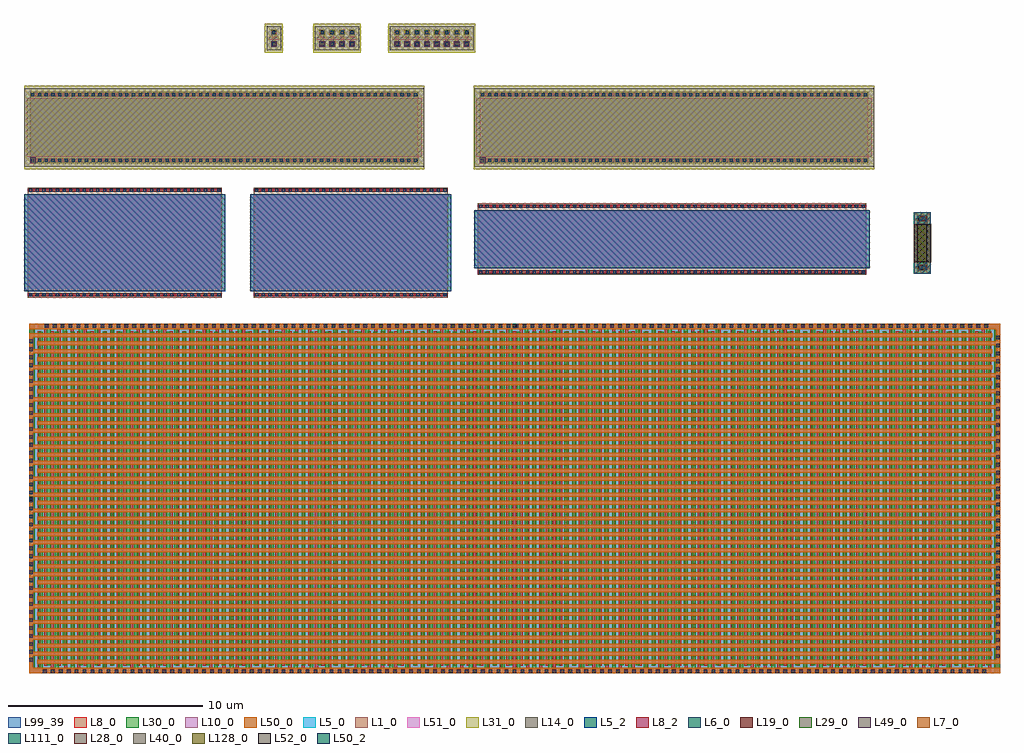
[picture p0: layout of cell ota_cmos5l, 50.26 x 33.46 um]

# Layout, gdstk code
from math import pi, radians
import gdstk
lib = gdstk.Library(unit=1e-6, precision=1e-09)
def R(c, l, rs):  # rectangles x0, y0, x1, y1
    for r in rs: c.add(gdstk.rectangle(r[:2], r[2:], *l))
def A(c, l, x, y, w, h, nx, ny, dx, dy):  # array of equal rectangles
    R(c, l, [(x+i*dx, y+j*dy, x+i*dx+w, y+j*dy+h) for i in range(nx) for j in range(ny)])
L1_0 = (1, 0)
L5_0 = (5, 0)
L5_2 = (5, 2)
L6_0 = (6, 0)
L7_0 = (7, 0)
L8_0 = (8, 0)
L8_2 = (8, 2)
L10_0 = (10, 0)
L14_0 = (14, 0)
L19_0 = (19, 0)
L28_0 = (28, 0)
L29_0 = (29, 0)
L30_0 = (30, 0)
L31_0 = (31, 0)
L40_0 = (40, 0)
L49_0 = (49, 0)
L50_0 = (50, 0)
L50_2 = (50, 2)
L51_0 = (51, 0)
L52_0 = (52, 0)
L99_39 = (99, 39)
L111_0 = (111, 0)
L128_0 = (128, 0)

nmos = lib.new_cell('nmos')
R(nmos, L1_0, [(0,-5.68,0.3,-5.38), (0,-5.68,10,0), (0,-0.3,0.3,0)])
R(nmos, L5_0, [(-0.18,-5.34,10.18,-0.34)])
R(nmos, L5_2, [(-0.18,-5.34,10.18,-0.34)])
A(nmos, L6_0, 0.07, -5.61, 0.16, 0.16, 4, 2, 0.345, 5.38)
A(nmos, L6_0, 1.455, -5.61, 0.16, 0.16, 3, 2, 0.345, 5.38)
A(nmos, L6_0, 2.495, -5.61, 0.16, 0.16, 4, 2, 0.345, 5.38)
A(nmos, L6_0, 3.88, -5.61, 0.16, 0.16, 3, 2, 0.345, 5.38)
A(nmos, L6_0, 4.92, -5.61, 0.16, 0.16, 4, 2, 0.345, 5.38)
A(nmos, L6_0, 6.305, -5.61, 0.16, 0.16, 3, 2, 0.345, 5.38)
A(nmos, L6_0, 7.345, -5.61, 0.16, 0.16, 4, 2, 0.345, 5.38)
A(nmos, L6_0, 8.73, -5.61, 0.16, 0.16, 3, 2, 0.345, 5.38)
R(nmos, L6_0, [(9.77,-5.61,9.93,-5.45), (9.77,-0.23,9.93,-0.07)])
R(nmos, L8_0, [(0,-5.61,10,-5.45), (0,-0.23,10,-0.07)])
R(nmos, L8_2, [(0,-5.61,10,-5.45), (0,-0.23,10,-0.07)])
R(nmos, L51_0, [(-0.18,-5.34,10.18,-0.34)])
nmos.add(gdstk.Label('nmos', (5,-2.84), layer=63, texttype=0))
nmos.add(gdstk.Label('nmos', (5,-2.84), layer=51, texttype=0))

pmos = lib.new_cell('pmos')
R(pmos, L1_0, [(0,0,0.3,0.3), (0,0,3.68,20), (3.38,0,3.68,0.3)])
R(pmos, L5_0, [(0.34,-0.18,3.34,20.18), (0.34,-0.18,3.34,20.18)])
A(pmos, L6_0, 0.07, 0.07, 0.16, 0.16, 1, 9, 0, 0.345)
A(pmos, L6_0, 3.45, 0.07, 0.16, 0.16, 1, 9, 0, 0.345)
A(pmos, L6_0, 0.07, 3.18, 0.16, 0.16, 1, 8, 0, 0.345)
A(pmos, L6_0, 3.45, 3.18, 0.16, 0.16, 1, 8, 0, 0.345)
A(pmos, L6_0, 0.07, 5.945, 0.16, 0.16, 1, 8, 0, 0.345)
A(pmos, L6_0, 3.45, 5.945, 0.16, 0.16, 1, 8, 0, 0.345)
A(pmos, L6_0, 0.07, 8.71, 0.16, 0.16, 1, 8, 0, 0.345)
A(pmos, L6_0, 3.45, 8.71, 0.16, 0.16, 1, 8, 0, 0.345)
A(pmos, L6_0, 0.07, 11.475, 0.16, 0.16, 1, 8, 0, 0.345)
A(pmos, L6_0, 3.45, 11.475, 0.16, 0.16, 1, 8, 0, 0.345)
A(pmos, L6_0, 0.07, 14.24, 0.16, 0.16, 1, 8, 0, 0.345)
A(pmos, L6_0, 3.45, 14.24, 0.16, 0.16, 1, 8, 0, 0.345)
A(pmos, L6_0, 0.07, 17.005, 0.16, 0.16, 1, 8, 0, 0.345)
A(pmos, L6_0, 3.45, 17.005, 0.16, 0.16, 1, 8, 0, 0.345)
R(pmos, L6_0, [(0.07,19.77,0.23,19.93), (3.45,19.77,3.61,19.93)])
R(pmos, L8_0, [(0.07,0,0.23,20), (0.07,0,0.23,20), (3.45,0,3.61,20), (3.45,0,3.61,20)])
R(pmos, L14_0, [(-0.18,-0.3,3.86,20.3)])
R(pmos, L31_0, [(-0.31,-0.31,3.99,20.31)])
R(pmos, L40_0, [(3.38,0,3.68,0.3)])
R(pmos, L51_0, [(0.34,-0.18,3.34,20.18)])
pmos.add(gdstk.Label('pmos', (1.84,10), layer=63, texttype=0))
pmos.add(gdstk.Label('pmos', (1.84,10), layer=51, texttype=0))

nmos_1 = lib.new_cell('nmos$1')
R(nmos_1, L1_0, [(0,0,0.3,0.3), (0,0,3.68,20), (3.38,0,3.68,0.3)])
R(nmos_1, L5_0, [(0.34,-0.18,3.34,20.18)])
R(nmos_1, L5_2, [(0.34,-0.18,3.34,20.18)])
A(nmos_1, L6_0, 0.07, 0.07, 0.16, 0.16, 1, 9, 0, 0.345)
A(nmos_1, L6_0, 3.45, 0.07, 0.16, 0.16, 1, 9, 0, 0.345)
A(nmos_1, L6_0, 0.07, 3.18, 0.16, 0.16, 1, 8, 0, 0.345)
A(nmos_1, L6_0, 3.45, 3.18, 0.16, 0.16, 1, 8, 0, 0.345)
A(nmos_1, L6_0, 0.07, 5.945, 0.16, 0.16, 1, 8, 0, 0.345)
A(nmos_1, L6_0, 3.45, 5.945, 0.16, 0.16, 1, 8, 0, 0.345)
A(nmos_1, L6_0, 0.07, 8.71, 0.16, 0.16, 1, 8, 0, 0.345)
A(nmos_1, L6_0, 3.45, 8.71, 0.16, 0.16, 1, 8, 0, 0.345)
A(nmos_1, L6_0, 0.07, 11.475, 0.16, 0.16, 1, 8, 0, 0.345)
A(nmos_1, L6_0, 3.45, 11.475, 0.16, 0.16, 1, 8, 0, 0.345)
A(nmos_1, L6_0, 0.07, 14.24, 0.16, 0.16, 1, 8, 0, 0.345)
A(nmos_1, L6_0, 3.45, 14.24, 0.16, 0.16, 1, 8, 0, 0.345)
A(nmos_1, L6_0, 0.07, 17.005, 0.16, 0.16, 1, 8, 0, 0.345)
A(nmos_1, L6_0, 3.45, 17.005, 0.16, 0.16, 1, 8, 0, 0.345)
R(nmos_1, L6_0, [(0.07,19.77,0.23,19.93), (3.45,19.77,3.61,19.93)])
R(nmos_1, L8_0, [(0.07,0,0.23,20), (3.45,0,3.61,20)])
R(nmos_1, L8_2, [(0.07,0,0.23,20), (3.45,0,3.61,20)])
R(nmos_1, L51_0, [(0.34,-0.18,3.34,20.18)])
nmos_1.add(gdstk.Label('nmos', (1.84,10), layer=63, texttype=0))
nmos_1.add(gdstk.Label('nmos', (1.84,10), layer=51, texttype=0))

rhigh = lib.new_cell('rhigh')
R(rhigh, L5_0, [(0,-0.43,0.5,0), (0,1.95,0.5,2.38)])
R(rhigh, L6_0, [(0.07,-0.36,0.43,-0.2), (0.07,2.15,0.43,2.31)])
R(rhigh, L7_0, [(-0.18,-0.61,0.68,0.18), (-0.18,0,0.68,1.95), (-0.18,0,0.68,1.95), (-0.18,1.77,0.68,2.56)])
R(rhigh, L8_0, [(0.02,-0.41,0.48,-0.15), (0.02,2.1,0.48,2.36)])
R(rhigh, L8_2, [(0.02,-0.41,0.48,-0.15), (0.02,2.1,0.48,2.36)])
R(rhigh, L14_0, [(-0.18,-0.61,0.68,0.18), (-0.18,0,0.68,1.95), (-0.18,0,0.68,1.95), (-0.18,1.77,0.68,2.56)])
R(rhigh, L28_0, [(-0.2,0,0.7,1.95)])
R(rhigh, L52_0, [(0,0,0.5,1.95)])
R(rhigh, L111_0, [(-0.18,-0.61,0.68,0.18), (-0.2,0,0.7,1.95), (-0.18,1.77,0.68,2.56)])
R(rhigh, L128_0, [(0,0,0.5,1.95)])
rhigh.add(gdstk.Label('rhigh r=6085.217', (0.25,0.975), layer=63, texttype=0))
rhigh.add(gdstk.Label('rhigh', (0.25,0.975), layer=52, texttype=0))

pmos_2 = lib.new_cell('pmos$2')
R(pmos_2, L1_0, [(0,0,0.3,0.3), (0.59,0,0.89,0.3), (0,0.075,0.89,0.225)])
R(pmos_2, L5_0, [(0.37,-0.105,0.52,0.405), (0.37,-0.105,0.52,0.405)])
R(pmos_2, L6_0, [(0.07,0.07,0.23,0.23), (0.66,0.07,0.82,0.23)])
R(pmos_2, L8_0, [(0.07,0.02,0.23,0.28), (0.07,0.02,0.23,0.28), (0.66,0.02,0.82,0.28), (0.66,0.02,0.82,0.28)])
R(pmos_2, L14_0, [(-0.18,-0.225,1.07,0.525)])
R(pmos_2, L31_0, [(-0.31,-0.31,1.2,0.61)])
R(pmos_2, L40_0, [(0.59,0,0.89,0.3)])
R(pmos_2, L51_0, [(0.37,-0.105,0.52,0.405)])
pmos_2.add(gdstk.Label('pmos', (0.445,0.15), layer=63, texttype=0))
pmos_2.add(gdstk.Label('pmos', (0.445,0.15), layer=51, texttype=0))

pmos_3 = lib.new_cell('pmos$3')
R(pmos_3, L1_0, [(0,0,0.3,0.3), (0.59,0,0.89,0.3), (0,0.075,0.89,0.225)])
R(pmos_3, L5_0, [(0.37,-0.105,0.52,0.405), (0.37,-0.105,0.52,0.405)])
R(pmos_3, L6_0, [(0.07,0.07,0.23,0.23), (0.66,0.07,0.82,0.23)])
R(pmos_3, L8_0, [(0.07,0.02,0.23,0.28), (0.07,0.02,0.23,0.28), (0.66,0.02,0.82,0.28), (0.66,0.02,0.82,0.28)])
R(pmos_3, L14_0, [(-0.18,-0.225,1.07,0.525)])
R(pmos_3, L31_0, [(-0.31,-0.31,1.2,0.61)])
R(pmos_3, L40_0, [(0.59,0,0.89,0.3)])
R(pmos_3, L51_0, [(0.37,-0.105,0.52,0.405)])
pmos_3.add(gdstk.Label('pmos', (0.445,0.15), layer=63, texttype=0))
pmos_3.add(gdstk.Label('pmos', (0.445,0.15), layer=51, texttype=0))

cap_mfringe = lib.new_cell('cap_mfringe')
A(cap_mfringe, L8_0, 0.44, 0, 0.16, 17.61, 73, 1, 0.68, 0)
A(cap_mfringe, L8_0, 0.78, 0.39, 0.16, 17.61, 72, 1, 0.68, 0)
R(cap_mfringe, L8_0, [(0,0,0.26,18), (0,0,49.56,0.21), (49.74,0,50,18), (0.44,17.79,50,18)])
A(cap_mfringe, L10_0, 0.42, 0.495, 49.58, 0.2, 1, 21, 0, 0.82)
A(cap_mfringe, L10_0, 0, 0.905, 49.58, 0.2, 1, 21, 0, 0.82)
R(cap_mfringe, L10_0, [(0,0,50,0.285), (0,0,0.205,17.505), (49.795,0.495,50,18), (0,17.715,50,18)])
A(cap_mfringe, L19_0, 0.715, 0.01, 0.19, 0.19, 119, 1, 0.41, 0)
A(cap_mfringe, L19_0, 0.01, 0.605, 0.19, 0.19, 1, 41, 0, 0.41)
A(cap_mfringe, L19_0, 49.8, 0.805, 0.19, 0.19, 1, 41, 0, 0.41)
A(cap_mfringe, L19_0, 0.815, 17.8, 0.19, 0.19, 119, 1, 0.41, 0)
A(cap_mfringe, L29_0, 0.715, 0.005, 0.19, 0.19, 119, 1, 0.41, 0)
A(cap_mfringe, L29_0, 0.005, 0.605, 0.19, 0.19, 1, 41, 0, 0.41)
A(cap_mfringe, L29_0, 49.805, 0.805, 0.19, 0.19, 1, 41, 0, 0.41)
A(cap_mfringe, L29_0, 0.815, 17.805, 0.19, 0.19, 119, 1, 0.41, 0)
A(cap_mfringe, L30_0, 0.505, 0, 0.2, 17.59, 60, 1, 0.82, 0)
A(cap_mfringe, L30_0, 0.915, 0.41, 0.2, 17.59, 60, 1, 0.82, 0)
R(cap_mfringe, L30_0, [(0,0,0.295,18), (0,0,49.495,0.2), (49.705,0,50,18), (0.505,17.8,50,18)])
A(cap_mfringe, L49_0, 0.715, 0.005, 0.19, 0.19, 119, 1, 0.41, 0)
A(cap_mfringe, L49_0, 0.005, 0.605, 0.19, 0.19, 1, 41, 0, 0.41)
A(cap_mfringe, L49_0, 49.805, 0.805, 0.19, 0.19, 1, 41, 0, 0.41)
A(cap_mfringe, L49_0, 0.815, 17.805, 0.19, 0.19, 119, 1, 0.41, 0)
A(cap_mfringe, L50_0, 0.41, 0.495, 49.59, 0.2, 1, 21, 0, 0.82)
A(cap_mfringe, L50_0, 0, 0.905, 49.59, 0.2, 1, 21, 0, 0.82)
R(cap_mfringe, L50_0, [(0,0,50,0.285), (0,0,0.2,17.505), (49.8,0.495,50,18), (0,17.715,50,18)])
R(cap_mfringe, L50_2, [(0,8.9,0.2,9.1), (24.9,17.8,25.1,18)])
R(cap_mfringe, L99_39, [(0,0,50,18)])
cap_mfringe.add(gdstk.Label('cap_mfringe C=2088.000fF', (0,-0.5), layer=63, texttype=0))

ota_cmos5l = lib.new_cell('ota_cmos5l')
ota_cmos5l.add(gdstk.Reference(nmos, (11.91,6.13)))
ota_cmos5l.add(gdstk.Reference(nmos, (0.27,6.13)))
ota_cmos5l.add(gdstk.Reference(pmos, (0.39,11.06), rotation=3*pi/2))
ota_cmos5l.add(gdstk.Reference(pmos, (23.56,11.06), rotation=3*pi/2))
ota_cmos5l.add(gdstk.Reference(nmos_1, (23.45,5.31), rotation=3*pi/2))
ota_cmos5l.add(gdstk.Reference(rhigh, (46.09,2.29)))
ota_cmos5l.add(gdstk.Reference(pmos_2, (12.8,14.26), rotation=3*pi/2))
ota_cmos5l.add(gdstk.Reference(pmos_2, (20.68,14.26), rotation=3*pi/2))
ota_cmos5l.add(gdstk.Reference(pmos_3, (16.82,14.26), rotation=3*pi/2))
ota_cmos5l.add(gdstk.Reference(pmos_3, (16.31,14.26), rotation=3*pi/2))
ota_cmos5l.add(gdstk.Reference(pmos_3, (15.8,14.26), rotation=3*pi/2))
ota_cmos5l.add(gdstk.Reference(pmos_3, (15.29,14.26), rotation=3*pi/2))
ota_cmos5l.add(gdstk.Reference(pmos_2, (20.17,14.26), rotation=3*pi/2))
ota_cmos5l.add(gdstk.Reference(pmos_2, (19.66,14.26), rotation=3*pi/2))
ota_cmos5l.add(gdstk.Reference(pmos_2, (19.15,14.26), rotation=3*pi/2))
ota_cmos5l.add(gdstk.Reference(pmos_2, (21.7,14.26), rotation=3*pi/2))
ota_cmos5l.add(gdstk.Reference(cap_mfringe, (0.34,-18.89)))
ota_cmos5l.add(gdstk.Reference(pmos_2, (22.21,14.26), rotation=3*pi/2))
ota_cmos5l.add(gdstk.Reference(pmos_2, (22.72,14.26), rotation=3*pi/2))
ota_cmos5l.add(gdstk.Reference(pmos_2, (21.19,14.26), rotation=3*pi/2))

lib.write_gds('ota_cmos5l.gds')
